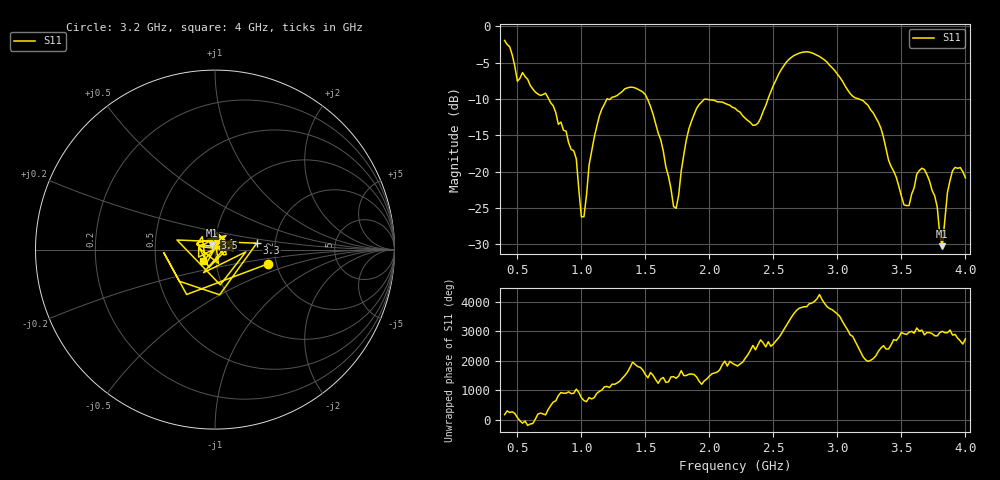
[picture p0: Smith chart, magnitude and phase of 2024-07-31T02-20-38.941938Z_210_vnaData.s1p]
!Created with skrf (http://scikit-rf.org).
# Hz S RI R 50.0
!freq ReS11 ImS11
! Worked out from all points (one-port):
!   181 points, 400 MHz to 4 GHz, reference 50 ohm
!   lowest |S11| = -30.3 dB at 3.82 GHz (marker M1), VSWR 1.06, Z = 48.1 + j2.36 ohm
!   |S11| at or under -10 dB: 744.6 MHz to 1.199 GHz (454.9 MHz wide, 46.8 % of centre); 1.515 GHz to 2.458 GHz (942.5 MHz wide, 47.4 % of centre); 3.167 GHz to end of sweep (the widest 3 of 4)
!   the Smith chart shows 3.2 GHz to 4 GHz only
!   S11 on the Smith chart (normalised r, x): 3.2 GHz: 1.81, -0.31; 3.3 GHz: 1.60, +0.12; 3.5 GHz: 0.99, +0.13; 4 GHz: 0.87, -0.11
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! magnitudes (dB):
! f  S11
! 400 MHz  -1.9
! 500 MHz  -7.6
! 720 MHz  -9.2
! 860 MHz  -14.3
! 960 MHz  -18.3
! 1 GHz  -26.3
! 1.02 GHz  -26.2
! 1.06 GHz  -19.1
! 1.14 GHz  -12.4
! 1.3 GHz  -9.2
! 1.5 GHz  -9.4
! 1.72 GHz  -24.8
! 1.76 GHz  -23.2
! 1.82 GHz  -15.6
! 1.9 GHz  -11.3
! 2.2 GHz  -11.3
! 2.38 GHz  -13.3
! 2.66 GHz  -4.0
! 3.1 GHz  -9.3
! 3.2 GHz  -10.2
! 3.3 GHz  -12.6
! 3.5 GHz  -23.4
! 3.56 GHz  -24.7
! 3.68 GHz  -19.7
! 3.76 GHz  -23.3
! 3.82 GHz  -30.3
! 3.9 GHz  -19.9
! 4 GHz  -20.9
